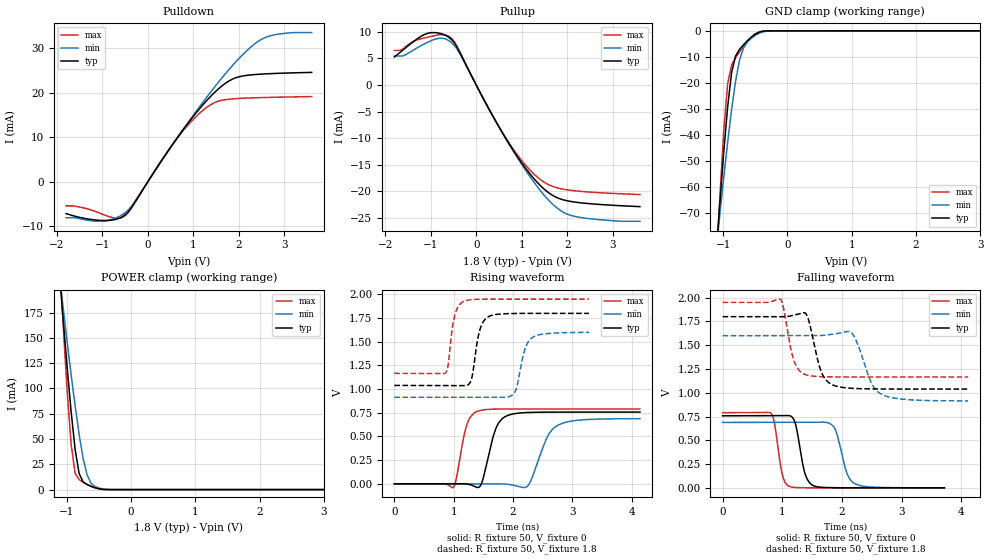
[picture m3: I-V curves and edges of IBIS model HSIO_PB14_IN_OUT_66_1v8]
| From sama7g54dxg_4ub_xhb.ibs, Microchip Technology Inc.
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|   Model   HSIO_PB14_IN_OUT_66
[Model] HSIO_PB14_IN_OUT_66_1v8
Model_type I/O
Enable   Active-High
Vinl  =  0.54
Vinh  =  1.26
Vmeas =  0.900
| Capacitance   typ   min   max
C_comp   1.163036691660317e-12   1.110531179970373e-12   1.233897269043508e-12
| Variables   typ   min   max
[GND Clamp Reference]   0   0   0
[POWER Clamp Reference]   1.8   1.6   1.95
[Pulldown Reference]   0   0   0
[Pullup Reference]   1.8   1.6   1.95
[Temperature Range]   25   125   -40
[Voltage Range]   1.8   1.6   1.95
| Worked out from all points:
|   slope of the pulldown table from 0 to 0.27 V, typ, clamps not added: 63.1 ohm
|   slope of the pullup table from 0 to 0.27 V, typ, clamps not added: 61.8 ohm
|   GND clamp passes 1 mA (typ) near -0.48 V on its own axis
|   POWER clamp passes 1 mA (typ) near -0.51 V on its own axis
|   falling waveform, R_fixture 50, V_fixture 0: 20-80 % time 135ps typ, 172ps min, 112ps max; typ from 0.758 V to 0.001 V
|   falling waveform, R_fixture 50, V_fixture 1.8: 20-80 % time 187ps typ, 248ps min, 155ps max; typ from 1.8 V to 1.04 V
|   rising waveform, R_fixture 50, V_fixture 0: 20-80 % time 192ps typ, 267ps min, 152ps max; typ from 0 V to 0.758 V
|   rising waveform, R_fixture 50, V_fixture 1.8: 20-80 % time 125ps typ, 151ps min, 105ps max; typ from 1.04 V to 1.8 V
[GND Clamp]
| Voltage   I(typ)   I(min)   I(max)
-1.8V     -342.3mA   -209.2mA   -383.3mA
-1.117V   -88.41mA   -86.17mA   -95.58mA
-1.055V   -67.24mA   -71.21mA   -65.53mA
-993.1mV  -47.21mA   -56.7mA    -39.17mA
-931mV    -29.36mA   -42.92mA   -20.44mA
-869mV    -16.03mA   -30.19mA   -13.06mA
-806.9mV  -9.642mA   -19.24mA   -10.33mA
-744.8mV  -7.096mA   -11.16mA   -8.045mA
-682.8mV  -5.304mA   -6.514mA   -5.914mA
-496.6mV  -1.217mA   -1.697mA   -1.105mA
-248.3mV  -21.53uA   -36.43uA   -27.1uA
3.6V      0A         0A         0A
[POWER Clamp]
| Voltage   I(typ)   I(min)   I(max)
-1.8V     802.5mA    491.9mA    900.5mA
-1.117V   217.9mA    214.2mA    234.3mA
-1.055V   168.5mA    179.9mA    163.3mA
-993.1mV  121.1mA    146.2mA    97.89mA
-931mV    77.15mA    113.8mA    44.83mA
-869mV    39.82mA    82.92mA    16.06mA
-806.9mV  15.89mA    54.71mA    9.825mA
-744.8mV  7.576mA    31.01mA    7.34mA
-682.8mV  4.957mA    14.53mA    5.181mA
-558.6mV  1.859mA    2.935mA    1.718mA
-372.4mV  36.98uA    212.4uA    18.99uA
3.6V      0A         0A         0A
[Pullup]
| Voltage   I(typ)   I(min)   I(max)
-1.8V     5.267mA    5.45mA     6.499mA
-1.614V   6.543mA    5.45mA     6.762mA
-1.117V   9.564mA    7.826mA    8.881mA
-806.9mV  9.722mA    8.776mA    9.446mA
-620.7mV  9.072mA    8.44mA     9.237mA
-372.4mV  6.317mA    6.072mA    6.437mA
620.7mV   -9.634mA   -9.632mA   -9.55mA
993.1mV   -14.56mA   -14.84mA   -14.12mA
1.366V    -18.52mA   -19.38mA   -17.47mA
1.738V    -21.02mA   -22.85mA   -19.24mA
2.048V    -21.85mA   -24.43mA   -19.78mA
3.6V      -22.87mA   -25.63mA   -20.6mA
[Pulldown]
| Voltage   I(typ)   I(min)   I(max)
-1.8V     -7.188mA   -8.123mA   -5.449mA
-993.1mV  -8.754mA   -8.903mA   -7.367mA
-682.8mV  -8.433mA   -8.086mA   -8.241mA
-496.6mV  -7.442mA   -6.95mA    -7.628mA
-310.3mV  -5.006mA   -4.803mA   -5.118mA
620.7mV   9.553mA    9.474mA    9.464mA
993.1mV   14.65mA    14.88mA    13.99mA
1.366V    19.06mA    19.99mA    17.23mA
1.862V    23.1mA     26.18mA    18.63mA
2.483V    24.2mA     31.96mA    18.92mA
2.917V    24.41mA    33.28mA    19.02mA
3.6V      24.6mA     33.56mA    19.16mA
[Ramp]
dV/dt_r   0.454668/0.191785n  0.412782/0.267911n  0.474374/0.152305n
dV/dt_f   0.456811/0.187164n  0.412033/0.248493n  0.470445/0.15476n
R_load = 50
[Falling Waveform]
R_fixture = 50
V_fixture = 0
V_fixture_min = 0
V_fixture_max = 0
| Time   V(typ)   V(min)   V(max)
0s        757.8mV    688mV      790.6mV
816.4ps   758.5mV    688.5mV    781.5mV
1.007ns   759mV      688.6mV    127.6mV
1.144ns   754.4mV    688.7mV    10.37mV
1.385ns   143.5mV    688.8mV    1.291mV
1.529ns   21.06mV    688.9mV    591.7uV
1.864ns   1.988mV    641.7mV    591.1uV
2.089ns   975.6uV    147mV      590.8uV
2.233ns   975.2uV    40.26mV    590.5uV
3.72ns    971.2uV    275.6uV    588.1uV
[Falling Waveform]
R_fixture = 50
V_fixture = 1.8
V_fixture_min = 1.6
V_fixture_max = 1.95
| Time   V(typ)   V(min)   V(max)
0s        1.8V       1.6V       1.95V
970ps     1.799V     1.6V       1.982V
1.203ns   1.817V     1.601V     1.326V
1.391ns   1.835V     1.601V     1.19V
1.646ns   1.234V     1.601V     1.169V
1.847ns   1.082V     1.616V     1.167V
2.178ns   1.046V     1.62V      1.166V
2.478ns   1.041V     1.126V     1.166V
2.647ns   1.04V      990.3mV    1.166V
4.118ns   1.039V     914.1mV    1.166V
[Rising Waveform]
R_fixture = 50
V_fixture = 0
V_fixture_min = 0
V_fixture_max = 0
| Time   V(typ)   V(min)   V(max)
0s        1.526nV    260.2nV    41.99pV
990.7ps   855.1uV    -226.7uV   -40.67mV
1.212ns   -1.432mV   -277.4uV   606.8mV
1.413ns   -38.06mV   -323.5uV   768.5mV
1.697ns   563.5mV    -388.5uV   788.5mV
1.89ns    716.7mV    -3.65mV    789.7mV
2.241ns   752.8mV    -26.23mV   789.7mV
2.572ns   756.8mV    489.2mV    789.7mV
2.756ns   757.3mV    619.1mV    789.7mV
4.136ns   757.6mV    687.4mV    789.7mV
[Rising Waveform]
R_fixture = 50
V_fixture = 1.8
V_fixture_min = 1.6
V_fixture_max = 1.95
| Time   V(typ)   V(min)   V(max)
0s        1.039V     913.3mV    1.166V
864.3ps   1.038V     912.8mV    1.172V
1.018ns   1.038V     912.7mV    1.777V
1.179ns   1.036V     912.7mV    1.93V
1.296ns   1.099V     912.6mV    1.944V
1.437ns   1.617V     912.5mV    1.948V
1.593ns   1.767V     912.4mV    1.949V
2.018ns   1.798V     956.7mV    1.95V
2.335ns   1.799V     1.548V     1.95V
3.278ns   1.799V     1.599V     1.95V
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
